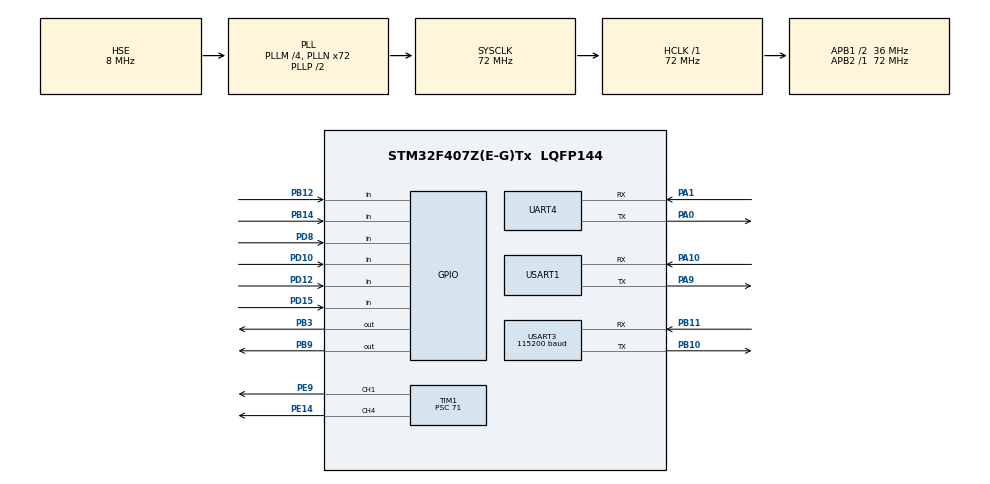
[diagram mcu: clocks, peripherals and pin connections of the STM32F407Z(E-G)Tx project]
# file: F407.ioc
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Dma.MEMTOMEM.2.Direction=DMA_MEMORY_TO_MEMORY
Dma.MEMTOMEM.2.FIFOMode=DMA_FIFOMODE_ENABLE
Dma.MEMTOMEM.2.FIFOThreshold=DMA_FIFO_THRESHOLD_FULL
Dma.MEMTOMEM.2.Instance=DMA2_Stream0
Dma.MEMTOMEM.2.MemBurst=DMA_MBURST_SINGLE
Dma.MEMTOMEM.2.MemDataAlignment=DMA_MDATAALIGN_BYTE
Dma.MEMTOMEM.2.MemInc=DMA_MINC_ENABLE
Dma.MEMTOMEM.2.Mode=DMA_NORMAL
Dma.MEMTOMEM.2.PeriphBurst=DMA_PBURST_SINGLE
Dma.MEMTOMEM.2.PeriphDataAlignment=DMA_PDATAALIGN_BYTE
Dma.MEMTOMEM.2.PeriphInc=DMA_PINC_ENABLE
Dma.MEMTOMEM.2.Priority=DMA_PRIORITY_LOW
Dma.Request0=USART1_RX
Dma.Request1=USART1_TX
Dma.Request2=MEMTOMEM
Dma.Request3=USART3_RX
Dma.Request4=USART3_TX
Dma.USART1_RX.0.Direction=DMA_PERIPH_TO_MEMORY
Dma.USART1_RX.0.FIFOMode=DMA_FIFOMODE_DISABLE
Dma.USART1_RX.0.Instance=DMA2_Stream2
Dma.USART1_RX.0.MemDataAlignment=DMA_MDATAALIGN_BYTE
Dma.USART1_RX.0.MemInc=DMA_MINC_ENABLE
Dma.USART1_RX.0.Mode=DMA_CIRCULAR
Dma.USART1_RX.0.PeriphDataAlignment=DMA_PDATAALIGN_BYTE
Dma.USART1_RX.0.PeriphInc=DMA_PINC_DISABLE
Dma.USART1_RX.0.Priority=DMA_PRIORITY_LOW
Dma.USART1_TX.1.Direction=DMA_MEMORY_TO_PERIPH
Dma.USART1_TX.1.FIFOMode=DMA_FIFOMODE_DISABLE
Dma.USART1_TX.1.Instance=DMA2_Stream7
Dma.USART1_TX.1.MemDataAlignment=DMA_MDATAALIGN_BYTE
Dma.USART1_TX.1.MemInc=DMA_MINC_ENABLE
Dma.USART1_TX.1.Mode=DMA_NORMAL
Dma.USART1_TX.1.PeriphDataAlignment=DMA_PDATAALIGN_BYTE
Dma.USART1_TX.1.PeriphInc=DMA_PINC_DISABLE
Dma.USART1_TX.1.Priority=DMA_PRIORITY_LOW
Dma.USART3_RX.3.Direction=DMA_PERIPH_TO_MEMORY
Dma.USART3_RX.3.FIFOMode=DMA_FIFOMODE_DISABLE
Dma.USART3_RX.3.Instance=DMA1_Stream1
Dma.USART3_RX.3.MemDataAlignment=DMA_MDATAALIGN_BYTE
Dma.USART3_RX.3.MemInc=DMA_MINC_ENABLE
Dma.USART3_RX.3.Mode=DMA_NORMAL
Dma.USART3_RX.3.PeriphDataAlignment=DMA_PDATAALIGN_BYTE
Dma.USART3_RX.3.PeriphInc=DMA_PINC_DISABLE
Dma.USART3_RX.3.Priority=DMA_PRIORITY_LOW
Dma.USART3_TX.4.Direction=DMA_MEMORY_TO_PERIPH
Dma.USART3_TX.4.FIFOMode=DMA_FIFOMODE_DISABLE
Dma.USART3_TX.4.Instance=DMA1_Stream3
Dma.USART3_TX.4.MemDataAlignment=DMA_MDATAALIGN_BYTE
Dma.USART3_TX.4.MemInc=DMA_MINC_ENABLE
Dma.USART3_TX.4.Mode=DMA_NORMAL
Dma.USART3_TX.4.PeriphDataAlignment=DMA_PDATAALIGN_BYTE
Dma.USART3_TX.4.PeriphInc=DMA_PINC_DISABLE
Dma.USART3_TX.4.Priority=DMA_PRIORITY_LOW
Mcu.Family=STM32F4
Mcu.Name=STM32F407Z(E-G)Tx
Mcu.Package=LQFP144
NVIC.DMA1_Stream1_IRQn=true\:0\:0\:false\:false\:true\:false\:true\:true
NVIC.DMA1_Stream3_IRQn=true\:0\:0\:false\:false\:true\:false\:true\:true
NVIC.DMA2_Stream2_IRQn=true\:0\:0\:false\:false\:true\:false\:true\:true
NVIC.DMA2_Stream7_IRQn=true\:0\:0\:false\:false\:true\:false\:true\:true
NVIC.PriorityGroup=NVIC_PRIORITYGROUP_4
NVIC.UART4_IRQn=true\:2\:0\:true\:false\:true\:true\:true\:true
NVIC.USART1_IRQn=true\:2\:0\:true\:false\:true\:true\:true\:true
NVIC.USART3_IRQn=true\:2\:0\:true\:false\:true\:true\:true\:true
PA0-WKUP.Mode=Asynchronous
PA0-WKUP.Signal=UART4_TX
PA1.Mode=Asynchronous
PA1.Signal=UART4_RX
PA10.Mode=Asynchronous
PA10.Signal=USART1_RX
PA13.Mode=Serial_Wire
PA13.Signal=SYS_JTMS-SWDIO
PA14.Mode=Serial_Wire
PA14.Signal=SYS_JTCK-SWCLK
PA9.Mode=Asynchronous
PA9.Signal=USART1_TX
PB10.Mode=Asynchronous
PB10.Signal=USART3_TX
PB11.Mode=Asynchronous
PB11.Signal=USART3_RX
PB12.Signal=GPIO_Input
PB14.Signal=GPIO_Input
PB3.Signal=GPIO_Output
PB9.Signal=GPIO_Output
PC14-OSC32_IN.Mode=LSE-External-Oscillator
PC14-OSC32_IN.Signal=RCC_OSC32_IN
PC15-OSC32_OUT.Mode=LSE-External-Oscillator
PC15-OSC32_OUT.Signal=RCC_OSC32_OUT
PD10.Signal=GPIO_Input
PD12.Signal=GPIO_Input
PD15.Signal=GPIO_Input
PD8.Signal=GPIO_Input
PE14.Signal=S_TIM1_CH4
PE9.Signal=S_TIM1_CH1
PH0-OSC_IN.Mode=HSE-External-Oscillator
PH0-OSC_IN.Signal=RCC_OSC_IN
PH1-OSC_OUT.Mode=HSE-External-Oscillator
PH1-OSC_OUT.Signal=RCC_OSC_OUT
ProjectManager.HeapSize=0x200
ProjectManager.StackSize=0x400
ProjectManager.TargetToolchain=MDK-ARM V5.32
RCC.48MHZClocksFreq_Value=36000000
RCC.AHBFreq_Value=72000000
RCC.APB1CLKDivider=RCC_HCLK_DIV2
RCC.APB1Freq_Value=36000000
RCC.APB1TimFreq_Value=72000000
RCC.APB2Freq_Value=72000000
RCC.APB2TimFreq_Value=72000000
RCC.CortexFreq_Value=72000000
RCC.HCLKFreq_Value=72000000
RCC.HSE_VALUE=8000000
RCC.HSI_VALUE=16000000
RCC.PLLM=4
RCC.PLLN=72
RCC.PLLSourceVirtual=RCC_PLLSOURCE_HSE
RCC.SYSCLKFreq_VALUE=72000000
RCC.SYSCLKSource=RCC_SYSCLKSOURCE_PLLCLK
RCC.VCOOutputFreq_Value=144000000
SH.S_TIM1_CH1.0=TIM1_CH1,PWM Generation1 CH1
SH.S_TIM1_CH4.0=TIM1_CH4,PWM Generation4 CH4
TIM1.Channel-PWM\ Generation1\ CH1=TIM_CHANNEL_1
TIM1.Channel-PWM\ Generation4\ CH4=TIM_CHANNEL_4
TIM1.Period=999
TIM1.Prescaler=71
TIM1.RepetitionCounter=10
UART4.VirtualMode=Asynchronous
USART1.VirtualMode=VM_ASYNC
USART3.BaudRate=115200
USART3.VirtualMode=VM_ASYNC
VP_TIM1_VS_OPM.Mode=OPM_bit
board=custom

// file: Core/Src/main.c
/* USER CODE BEGIN Header */
/**
  ******************************************************************************
  * @file           : main.c
  * @brief          : Main program body
  ******************************************************************************
  * @attention
  *
  * Copyright (c) 2026 STMicroelectronics.
  * All rights reserved.
  *
  * This software is licensed under terms that can be found in the LICENSE file
  * in the root directory of this software component.
  * If no LICENSE file comes with this software, it is provided AS-IS.
  *
  ******************************************************************************
  */
/* USER CODE END Header */
#include "main.h"
#include "dma.h"
#include "tim.h"
#include "usart.h"
#include "gpio.h"

/* USER CODE BEGIN Includes */
#include "Emm_V5.h"
#include "motion.h"
#include "view.h"
#include "distance.h"
#include <stdio.h>
#include "normaldj.h"
#include "protocol.h"
#include "parse.h"
#include "motioncmd.h"
#include "command_queue.h"
#include "serial.h"
#include "planner.h"
#include "motor_serial.h"
/* USER CODE END Includes */

/* USER CODE BEGIN PV */
extern uint8_t RxByte;
extern volatile uint8_t overflag;
extern uint8_t uart_rx_buf[64];

#define MOTOR_RX_BUF_SIZE 128
extern uint8_t usart1_rx_buf[MOTOR_RX_BUF_SIZE];
extern uint8_t usart1_frame_buf[MOTOR_RX_BUF_SIZE];
 uint32_t counter = 0;

int16_t x=0,y=0;
//lo,ld,ro,rd
uint16_t lo[]={0,0};
uint16_t ld[]={0,0};
uint16_t ro[]={0,0};
uint16_t rd[]={0,0};

/* 软件脉冲计数，替代 RCR（RCR 硬件只有 8 位，最大 255）
   normaldj.c 的 motor_pulse_start() 写入，回调里递减 */
volatile uint16_t pulse_remaining = 0;

/* USER CODE END PV */

void SystemClock_Config(void);

int main(void)
{

  /* MCU Configuration--------------------------------------------------------*/

  /* Reset of all peripherals, Initializes the Flash interface and the Systick. */
  HAL_Init();

  /* Configure the system clock */
  SystemClock_Config();

  /* Initialize all configured peripherals */
  MX_GPIO_Init();
  MX_DMA_Init();
  MX_USART1_UART_Init();
  MX_TIM1_Init();
  MX_UART4_Init();
  MX_USART3_UART_Init();
  /* USER CODE BEGIN 2 */
  //__HAL_UART_CLEAR_IDLEFLAG(&huart3); 											// 清除IDLE标志

  //test=HAL_UARTEx_ReceiveToIdle_DMA(&huart3,distance_buffer,buffer);
  HAL_UARTEx_ReceiveToIdle_DMA(&huart3,uart_rx_buf,sizeof(uart_rx_buf));
	HAL_UART_Receive_IT(&huart4, &RxByte, 1);
 // state.view=0;
 // state.go=0;
 // state.over=0;
  /* USER CODE END 2 */

  /* Infinite loop */
  /* USER CODE BEGIN WHILE */
	HAL_Delay(500);
	//Emm_V5_Pos_Control(1, 0, 100, 0, 3200, 0, 0);

/**********************************************************
***	上电延时500毫秒等待闭环初始化完毕
**********************************************************/
	//while(rxFrameFlag == false); rxFrameFlag = false;
  planner_init();
  queue_init();
  motor_serial_init();
 // parser_init();

  /* 中断优先级只需设一次 */
  HAL_NVIC_SetPriority(TIM1_UP_TIM10_IRQn, 0, 0);
  HAL_NVIC_EnableIRQ(TIM1_UP_TIM10_IRQn);

  while (1)
  {
    serial_process();

    planner_process();

    motor_poll();

    /* USER CODE END WHILE */

  }
}

void SystemClock_Config(void)
{
  RCC_OscInitTypeDef RCC_OscInitStruct = {0};
  RCC_ClkInitTypeDef RCC_ClkInitStruct = {0};

  /** Configure the main internal regulator output voltage
  */
  __HAL_RCC_PWR_CLK_ENABLE();
  __HAL_PWR_VOLTAGESCALING_CONFIG(PWR_REGULATOR_VOLTAGE_SCALE1);

  /** Initializes the RCC Oscillators according to the specified parameters
  * in the RCC_OscInitTypeDef structure.
  */
  RCC_OscInitStruct.OscillatorType = RCC_OSCILLATORTYPE_HSE;
  RCC_OscInitStruct.HSEState = RCC_HSE_ON;
  RCC_OscInitStruct.PLL.PLLState = RCC_PLL_ON;
  RCC_OscInitStruct.PLL.PLLSource = RCC_PLLSOURCE_HSE;
  RCC_OscInitStruct.PLL.PLLM = 4;
  RCC_OscInitStruct.PLL.PLLN = 72;
  RCC_OscInitStruct.PLL.PLLP = RCC_PLLP_DIV2;
  RCC_OscInitStruct.PLL.PLLQ = 4;
  if (HAL_RCC_OscConfig(&RCC_OscInitStruct) != HAL_OK)
  {
    Error_Handler();
  }

  /** Initializes the CPU, AHB and APB buses clocks
  */
  RCC_ClkInitStruct.ClockType = RCC_CLOCKTYPE_HCLK|RCC_CLOCKTYPE_SYSCLK
                              |RCC_CLOCKTYPE_PCLK1|RCC_CLOCKTYPE_PCLK2;
  RCC_ClkInitStruct.SYSCLKSource = RCC_SYSCLKSOURCE_PLLCLK;
  RCC_ClkInitStruct.AHBCLKDivider = RCC_SYSCLK_DIV1;
  RCC_ClkInitStruct.APB1CLKDivider = RCC_HCLK_DIV2;
  RCC_ClkInitStruct.APB2CLKDivider = RCC_HCLK_DIV1;

  if (HAL_RCC_ClockConfig(&RCC_ClkInitStruct, FLASH_LATENCY_2) != HAL_OK)
  {
    Error_Handler();
  }
}

/* USER CODE BEGIN 4 */

/**
 * @brief  TIM1 更新中断回调（RCR=0，每个 PWM 周期触发一次）
 *         由软件 pulse_remaining 计数，减到 0 时自动停止
 */
void HAL_TIM_PeriodElapsedCallback(TIM_HandleTypeDef *htim)
{
    if (htim->Instance == TIM1)
    {
        if (--pulse_remaining == 0)
        {
            HAL_TIM_PWM_Stop(&htim1, TIM_CHANNEL_1);
            __HAL_TIM_MOE_DISABLE(&htim1);
            __HAL_TIM_DISABLE_IT(&htim1, TIM_IT_UPDATE);
        }
    }
}

void HAL_UARTEx_RxEventCallback(UART_HandleTypeDef *huart, uint16_t Size)
{
  if(huart != &huart3)
  {
    return;
  }
  serial_rx_callback(uart_rx_buf, Size);

  HAL_UARTEx_ReceiveToIdle_DMA(&huart3,uart_rx_buf,sizeof(uart_rx_buf)
);
}
/* USER CODE END 4 */

void Error_Handler(void)
{
  __disable_irq();
  while (1)
  {
  }
}
